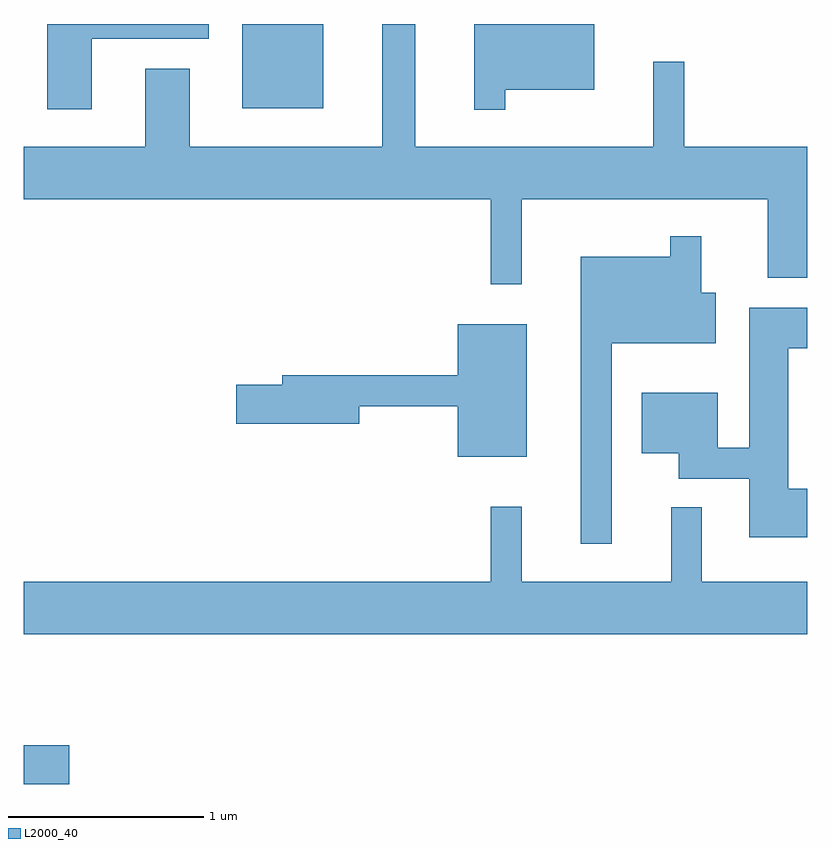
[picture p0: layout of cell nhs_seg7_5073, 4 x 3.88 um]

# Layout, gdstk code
import gdstk
lib = gdstk.Library(unit=1e-6, precision=1e-09)
def R(c, l, rs):  # rectangles x0, y0, x1, y1
    for r in rs: c.add(gdstk.rectangle(r[:2], r[2:], *l))
def P(c, l, *ps):  # polygons
    for p in ps: c.add(gdstk.Polygon(p, *l))
L2000_40 = (2000, 40)

nhs_seg7_5073 = lib.new_cell('nhs_seg7_5073')
R(nhs_seg7_5073, L2000_40, [(339.611,1782.371,339.844,1782.569), (340.726,1785.821,341.139,1786.252)])
P(nhs_seg7_5073, L2000_40, [(339.959,1786.176),(340.554,1786.176),(340.554,1786.252),(339.731,1786.252),(339.731,1785.816),(339.959,1785.816)],
  [(342.069,1785.916),(342.524,1785.916),(342.524,1786.252),(341.911,1786.252),(341.911,1785.813),(342.069,1785.813)],
  [(342.826,1786.058),(342.826,1785.624),(341.609,1785.624),(341.609,1786.252),(341.441,1786.252),(341.441,1785.624),(340.459,1785.624),(340.459,1786.024),(340.231,1786.024),(340.231,1785.624),(339.611,1785.624),(339.611,1785.356),(341.996,1785.356),(341.996,1784.923),(342.154,1784.923),(342.154,1785.356),(343.411,1785.356),(343.411,1784.956),(343.611,1784.956),(343.611,1785.624),(342.984,1785.624),(342.984,1786.058)],
  [(342.614,1784.621),(343.144,1784.621),(343.144,1784.879),(343.069,1784.879),(343.069,1785.168),(342.911,1785.168),(342.911,1785.064),(342.456,1785.064),(342.456,1783.598),(342.614,1783.598)],
  [(343.611,1783.879),(343.514,1783.879),(343.514,1784.596),(343.611,1784.596),(343.611,1784.804),(343.316,1784.804),(343.316,1784.089),(343.154,1784.089),(343.154,1784.369),(342.766,1784.369),(342.766,1784.061),(342.956,1784.061),(342.956,1783.931),(343.316,1783.931),(343.316,1783.631),(343.611,1783.631)],
  [(342.179,1784.719),(341.826,1784.719),(341.826,1784.459),(340.931,1784.459),(340.931,1784.409),(340.696,1784.409),(340.696,1784.211),(341.324,1784.211),(341.324,1784.301),(341.826,1784.301),(341.826,1784.041),(342.179,1784.041)],
  [(343.611,1783.404),(343.074,1783.404),(343.074,1783.783),(342.916,1783.783),(342.916,1783.404),(342.154,1783.404),(342.154,1783.788),(341.996,1783.788),(341.996,1783.404),(339.611,1783.404),(339.611,1783.136),(343.611,1783.136)])

lib.write_gds('nhs_seg7_5073.gds')
